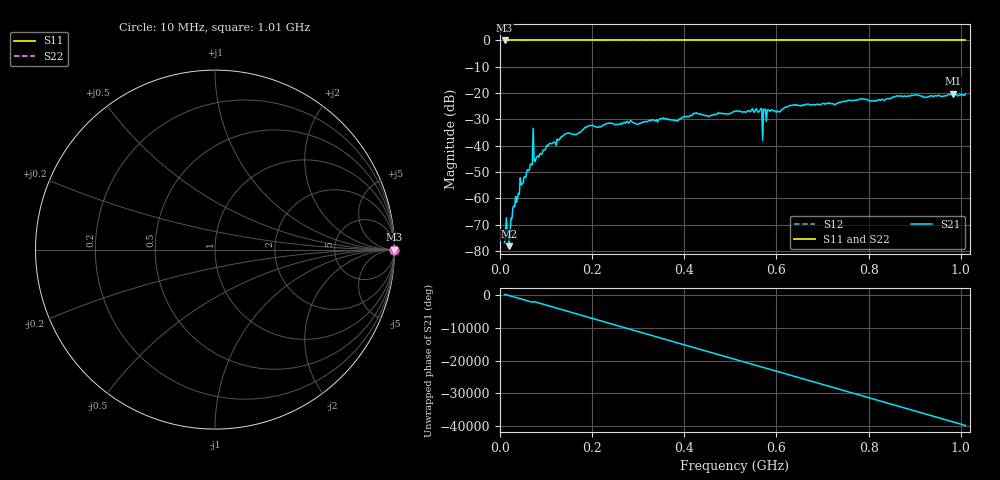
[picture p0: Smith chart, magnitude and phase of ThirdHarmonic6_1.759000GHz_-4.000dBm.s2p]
! 8/16/2025 9:13:42 PM
! C:\ANRITSUVNA\TEMP\TEMP.S2P
! CHANNEL.1
! TR.MEASUREMENT
! RAW.DATA
! RF.CORRECTION.OFF
! AVERAGING.OFF
! IF.BANDWIDTH: 5KHZ
! SWEEPTYPE:  FREQ.SWEEP(Linear)
! Reference Plane Port Info
! PORT:  PORT1  PORT2
! DISTANCE:  0  m  0  m
! TIME:  0  s  0  s
! PHASE.OFFSET:  0  deg.  0  deg.
! LOSS:  0  dB  0  dB
! REF.LOSS:  0  dB  0  dB
! REF.FREQ:  0  Hz  0  Hz
! Power Info
! POWER:  -20  dBm  -20  dBm
! EFF.POWER:  -20  dBm  -20  dBm
! SOURCE.ATTEN:  0  dB  0  dB
! TEST.ATTEN:  0  dB  0  dB
# GHZ S RI R 50.0
! FREQ.GHZ  S11RE  S11IM  S21RE  S21IM  S12RE  S12IM  S22RE  S22IM
!; PortSelection: Port_12
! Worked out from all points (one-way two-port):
!   501 points, 10 MHz to 1.01 GHz, reference 50 ohm
!   highest |S21| = -20.22 dB at 984 MHz (marker M1); lowest = -78.2 dB at 20 MHz (marker M2)
!   lowest |S11| = 0.0 dB at 10 MHz (marker M3)
!   |S11| at or under -10 dB: nowhere
!   |S22| runs from 0.0 to 0.0 dB; largest |S21 - S12| = 1.1
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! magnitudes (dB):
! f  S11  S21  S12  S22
! 10 MHz  0.0  -76.8  0.0  0.0
! 20 MHz  0.0  -78.2  0.0  0.0
! 32 MHz  0.0  -63.2  0.0  0.0
! 48 MHz  0.0  -54.6  0.0  0.0
! 66 MHz  0.0  -47.0  0.0  0.0
! 70 MHz  0.0  -47.3  0.0  0.0
! 76 MHz  0.0  -46.1  0.0  0.0
! 78 MHz  0.0  -44.9  0.0  0.0
! 142 MHz  0.0  -35.5  0.0  0.0
! 178 MHz  0.0  -34.1  0.0  0.0
! 198 MHz  0.0  -32.3  0.0  0.0
! 344 MHz  0.0  -30.3  0.0  0.0
! 510 MHz  0.0  -26.9  0.0  0.0
! 564 MHz  0.0  -26.5  0.0  0.0
! 566 MHz  0.0  -26.0  0.0  0.0
! 574 MHz  0.0  -26.3  0.0  0.0
! 576 MHz  0.0  -26.1  0.0  0.0
! 584 MHz  0.0  -26.5  0.0  0.0
! 678 MHz  0.0  -24.4  0.0  0.0
! 844 MHz  0.0  -22.1  0.0  0.0
! 984 MHz  0.0  -20.2  0.0  0.0
! 1.01 GHz  0.0  -20.5  0.0  0.0
